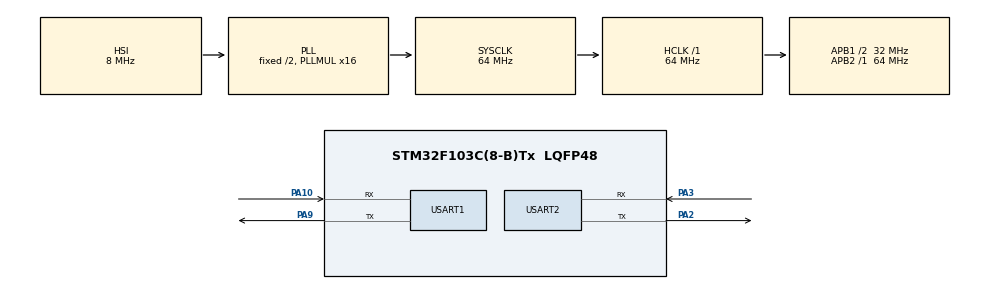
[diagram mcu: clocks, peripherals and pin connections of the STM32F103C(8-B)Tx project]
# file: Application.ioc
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Dma.Request0=USART2_RX
Dma.Request1=USART2_TX
Dma.USART2_RX.0.Direction=DMA_PERIPH_TO_MEMORY
Dma.USART2_RX.0.Instance=DMA1_Channel6
Dma.USART2_RX.0.MemDataAlignment=DMA_MDATAALIGN_BYTE
Dma.USART2_RX.0.MemInc=DMA_MINC_ENABLE
Dma.USART2_RX.0.Mode=DMA_NORMAL
Dma.USART2_RX.0.PeriphDataAlignment=DMA_PDATAALIGN_BYTE
Dma.USART2_RX.0.PeriphInc=DMA_PINC_DISABLE
Dma.USART2_RX.0.Priority=DMA_PRIORITY_LOW
Dma.USART2_TX.1.Direction=DMA_MEMORY_TO_PERIPH
Dma.USART2_TX.1.Instance=DMA1_Channel7
Dma.USART2_TX.1.MemDataAlignment=DMA_MDATAALIGN_BYTE
Dma.USART2_TX.1.MemInc=DMA_MINC_ENABLE
Dma.USART2_TX.1.Mode=DMA_NORMAL
Dma.USART2_TX.1.PeriphDataAlignment=DMA_PDATAALIGN_BYTE
Dma.USART2_TX.1.PeriphInc=DMA_PINC_DISABLE
Dma.USART2_TX.1.Priority=DMA_PRIORITY_LOW
Mcu.Family=STM32F1
Mcu.Name=STM32F103C(8-B)Tx
Mcu.Package=LQFP48
NVIC.DMA1_Channel6_IRQn=true\:0\:0\:false\:false\:true\:false\:true\:true
NVIC.DMA1_Channel7_IRQn=true\:0\:0\:false\:false\:true\:false\:true\:true
NVIC.PriorityGroup=NVIC_PRIORITYGROUP_4
NVIC.USART1_IRQn=true\:0\:0\:false\:false\:true\:true\:true\:true
NVIC.USART2_IRQn=true\:0\:0\:false\:false\:true\:true\:true\:true
PA10.Mode=Asynchronous
PA10.Signal=USART1_RX
PA13.Mode=Serial_Wire
PA13.Signal=SYS_JTMS-SWDIO
PA14.Mode=Serial_Wire
PA14.Signal=SYS_JTCK-SWCLK
PA2.Mode=Asynchronous
PA2.Signal=USART2_TX
PA3.Mode=Asynchronous
PA3.Signal=USART2_RX
PA9.Mode=Asynchronous
PA9.Signal=USART1_TX
PC14-OSC32_IN.Mode=LSE-External-Oscillator
PC14-OSC32_IN.Signal=RCC_OSC32_IN
PC15-OSC32_OUT.Mode=LSE-External-Oscillator
PC15-OSC32_OUT.Signal=RCC_OSC32_OUT
PD0-OSC_IN.Mode=HSE-External-Oscillator
PD0-OSC_IN.Signal=RCC_OSC_IN
PD1-OSC_OUT.Mode=HSE-External-Oscillator
PD1-OSC_OUT.Signal=RCC_OSC_OUT
ProjectManager.HeapSize=0x200
ProjectManager.StackSize=0x400
ProjectManager.TargetToolchain=MDK-ARM V5.32
RCC.AHBFreq_Value=64000000
RCC.APB1CLKDivider=RCC_HCLK_DIV2
RCC.APB1Freq_Value=32000000
RCC.APB1TimFreq_Value=64000000
RCC.APB2Freq_Value=64000000
RCC.APB2TimFreq_Value=64000000
RCC.HCLKFreq_Value=64000000
RCC.PLLMUL=RCC_PLL_MUL16
RCC.SYSCLKFreq_VALUE=64000000
RCC.SYSCLKSource=RCC_SYSCLKSOURCE_PLLCLK
RCC.USBFreq_Value=64000000
USART1.VirtualMode=VM_ASYNC
USART2.VirtualMode=VM_ASYNC
VP_CRC_VS_CRC.Mode=CRC_Activate
board=custom

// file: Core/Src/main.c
/* USER CODE BEGIN Header */
/**
  ******************************************************************************
  * @file           : main.c
  * @brief          : Main program body
  ******************************************************************************
  * @attention
  *
  * Copyright (c) 2022 STMicroelectronics.
  * All rights reserved.
  *
  * This software is licensed under terms that can be found in the LICENSE file
  * in the root directory of this software component.
  * If no LICENSE file comes with this software, it is provided AS-IS.
  *
  ******************************************************************************
  */
/* USER CODE END Header */
#include "main.h"

/* USER CODE BEGIN Includes */
#include <stdio.h>
#include <string.h>
/* USER CODE END Includes */

/* USER CODE BEGIN PM */
#define MAJOR 0
#define MINOR 1
/* USER CODE END PM */

CRC_HandleTypeDef hcrc;

UART_HandleTypeDef huart1;
UART_HandleTypeDef huart2;
DMA_HandleTypeDef hdma_usart2_rx;
DMA_HandleTypeDef hdma_usart2_tx;

/* USER CODE BEGIN PV */
uint8_t APP_Version[2] = {MAJOR, MINOR};
/* USER CODE END PV */

void SystemClock_Config(void);
static void MX_GPIO_Init(void);
static void MX_DMA_Init(void);
static void MX_USART1_UART_Init(void);
static void MX_USART2_UART_Init(void);
static void MX_CRC_Init(void);
/* USER CODE BEGIN PFP */
static void goto_application( void );
/* USER CODE END PFP */

/* USER CODE BEGIN 0 */
uint8_t ooo[] ="abcd";
/* USER CODE END 0 */

int main(void)
{

  /* MCU Configuration--------------------------------------------------------*/

  /* Reset of all peripherals, Initializes the Flash interface and the Systick. */
  HAL_Init();

  /* Configure the system clock */
  SystemClock_Config();

  /* Initialize all configured peripherals */
  MX_GPIO_Init();
  MX_DMA_Init();
  MX_USART1_UART_Init();
  MX_USART2_UART_Init();
  MX_CRC_Init();
  /* USER CODE BEGIN 2 */
goto_application();

  /* USER CODE END 2 */

  /* Infinite loop */
  while (1)
  {

    /* USER CODE BEGIN 3 */
        HAL_UART_Transmit(&huart2,ooo,sizeof(ooo)/sizeof(uint8_t),20);
	  HAL_Delay(1000);							//1sec delay
  }
  /* USER CODE END 3 */
}

void SystemClock_Config(void)
{
  RCC_OscInitTypeDef RCC_OscInitStruct = {0};
  RCC_ClkInitTypeDef RCC_ClkInitStruct = {0};

  /** Initializes the RCC Oscillators according to the specified parameters
  * in the RCC_OscInitTypeDef structure.
  */
  RCC_OscInitStruct.OscillatorType = RCC_OSCILLATORTYPE_HSI;
  RCC_OscInitStruct.HSIState = RCC_HSI_ON;
  RCC_OscInitStruct.HSICalibrationValue = RCC_HSICALIBRATION_DEFAULT;
  RCC_OscInitStruct.PLL.PLLState = RCC_PLL_ON;
  RCC_OscInitStruct.PLL.PLLSource = RCC_PLLSOURCE_HSI_DIV2;
  RCC_OscInitStruct.PLL.PLLMUL = RCC_PLL_MUL16;
  if (HAL_RCC_OscConfig(&RCC_OscInitStruct) != HAL_OK)
  {
    Error_Handler();
  }

  /** Initializes the CPU, AHB and APB buses clocks
  */
  RCC_ClkInitStruct.ClockType = RCC_CLOCKTYPE_HCLK|RCC_CLOCKTYPE_SYSCLK
                              |RCC_CLOCKTYPE_PCLK1|RCC_CLOCKTYPE_PCLK2;
  RCC_ClkInitStruct.SYSCLKSource = RCC_SYSCLKSOURCE_PLLCLK;
  RCC_ClkInitStruct.AHBCLKDivider = RCC_SYSCLK_DIV1;
  RCC_ClkInitStruct.APB1CLKDivider = RCC_HCLK_DIV2;
  RCC_ClkInitStruct.APB2CLKDivider = RCC_HCLK_DIV1;

  if (HAL_RCC_ClockConfig(&RCC_ClkInitStruct, FLASH_LATENCY_2) != HAL_OK)
  {
    Error_Handler();
  }
}

static void MX_CRC_Init(void)
{

  hcrc.Instance = CRC;
  if (HAL_CRC_Init(&hcrc) != HAL_OK)
  {
    Error_Handler();
  }

}

static void MX_USART1_UART_Init(void)
{

  huart1.Instance = USART1;
  huart1.Init.BaudRate = 115200;
  huart1.Init.WordLength = UART_WORDLENGTH_8B;
  huart1.Init.StopBits = UART_STOPBITS_1;
  huart1.Init.Parity = UART_PARITY_NONE;
  huart1.Init.Mode = UART_MODE_TX_RX;
  huart1.Init.HwFlowCtl = UART_HWCONTROL_NONE;
  huart1.Init.OverSampling = UART_OVERSAMPLING_16;
  if (HAL_UART_Init(&huart1) != HAL_OK)
  {
    Error_Handler();
  }

}

static void MX_USART2_UART_Init(void)
{

  huart2.Instance = USART2;
  huart2.Init.BaudRate = 115200;
  huart2.Init.WordLength = UART_WORDLENGTH_8B;
  huart2.Init.StopBits = UART_STOPBITS_1;
  huart2.Init.Parity = UART_PARITY_NONE;
  huart2.Init.Mode = UART_MODE_TX_RX;
  huart2.Init.HwFlowCtl = UART_HWCONTROL_NONE;
  huart2.Init.OverSampling = UART_OVERSAMPLING_16;
  if (HAL_UART_Init(&huart2) != HAL_OK)
  {
    Error_Handler();
  }

}

static void MX_DMA_Init(void)
{

  /* DMA controller clock enable */
  __HAL_RCC_DMA1_CLK_ENABLE();

  /* DMA interrupt init */
  /* DMA1_Channel6_IRQn interrupt configuration */
  HAL_NVIC_SetPriority(DMA1_Channel6_IRQn, 0, 0);
  HAL_NVIC_EnableIRQ(DMA1_Channel6_IRQn);
  /* DMA1_Channel7_IRQn interrupt configuration */
  HAL_NVIC_SetPriority(DMA1_Channel7_IRQn, 0, 0);
  HAL_NVIC_EnableIRQ(DMA1_Channel7_IRQn);

}

static void MX_GPIO_Init(void)
{

  /* GPIO Ports Clock Enable */
  __HAL_RCC_GPIOC_CLK_ENABLE();
  __HAL_RCC_GPIOD_CLK_ENABLE();
  __HAL_RCC_GPIOA_CLK_ENABLE();

}

/* USER CODE BEGIN 4 */
#ifdef __GNUC__
  /* With GCC, small printf (option LD Linker->Libraries->Small printf
     set to 'Yes') calls __io_putchar() */
int __io_putchar(int ch)
#else
int fputc(int ch, FILE *f)
#endif /* __GNUC__ */
{
  /* Place your implementation of fputc here */
  /* e.g. write a character to the UART3 and Loop until the end of transmission */
  HAL_UART_Transmit(&huart1, (uint8_t *)&ch, 1, HAL_MAX_DELAY);

  return ch;
}

#define ETX_APP_START_ADDRESS   0x0800AC00
static void goto_application( void )
{

	void (*app_reset_handler)(void) = (void*)(*((volatile uint32_t*)(ETX_APP_START_ADDRESS + 4U)));

	if( app_reset_handler == (void*)0xFFFFFFFF ){
	  while(1);
	}

	__set_MSP(*(volatile uint32_t*) ETX_APP_START_ADDRESS);

	// Turn OFF the Led to tell the user that Bootloader is not running

	app_reset_handler();    //call the app reset handler
}

/* USER CODE END 4 */

void Error_Handler(void)
{
  __disable_irq();
  while (1)
  {
  }
}
